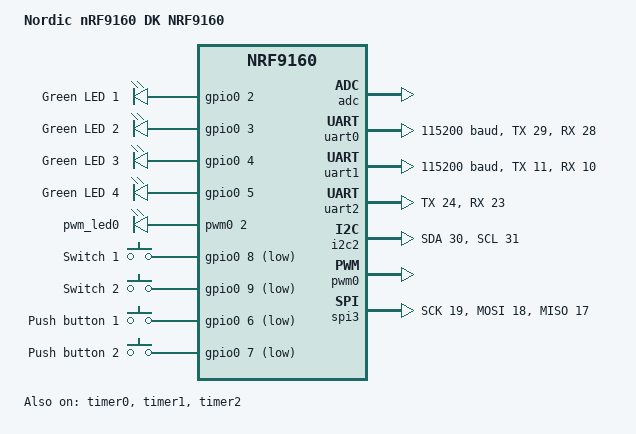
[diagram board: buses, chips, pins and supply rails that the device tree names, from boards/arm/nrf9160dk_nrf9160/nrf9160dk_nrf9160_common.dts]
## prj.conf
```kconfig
CONFIG_GPIO=y

CONFIG_SERIAL=y
CONFIG_UART_INTERRUPT_DRIVEN=y
CONFIG_UART_1_INTERRUPT_DRIVEN=y
```

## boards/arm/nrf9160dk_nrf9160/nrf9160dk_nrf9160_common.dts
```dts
/*
 * Copyright (c) 2018-2020 Nordic Semiconductor ASA
 *
 * SPDX-License-Identifier: Apache-2.0
 */

/ {
	model = "Nordic nRF9160 DK NRF9160";
	compatible = "nordic,nrf9160-dk-nrf9160";

	chosen {
		zephyr,console = &uart0;
		zephyr,shell-uart = &uart0;
		zephyr,uart-mcumgr = &uart0;
	};

	leds {
		compatible = "gpio-leds";
		led0: led_0 {
			gpios = <&gpio0 2 0>;
			label = "Green LED 1";
		};
		led1: led_1 {
			gpios = <&gpio0 3 0>;
			label = "Green LED 2";
		};
		led2: led_2 {
			gpios = <&gpio0 4 0>;
			label = "Green LED 3";
		};
		led3: led_3 {
			gpios = <&gpio0 5 0>;
			label = "Green LED 4";
		};
	};

	pwmleds {
		compatible = "pwm-leds";
		pwm_led0: pwm_led_0 {
			pwms = <&pwm0 2>;
		};
	};

	buttons {
		compatible = "gpio-keys";
		button0: button_0 {
			gpios = <&gpio0 8 (GPIO_PULL_UP | GPIO_ACTIVE_LOW)>;
			label = "Switch 1";
		};
		button1: button_1 {
			gpios = <&gpio0 9 (GPIO_PULL_UP | GPIO_ACTIVE_LOW)>;
			label = "Switch 2";
		};
		button2: button_2 {
			gpios = <&gpio0 6 (GPIO_PULL_UP | GPIO_ACTIVE_LOW)>;
			label = "Push button 1";
		};
		button3: button_3 {
			gpios = <&gpio0 7 (GPIO_PULL_UP | GPIO_ACTIVE_LOW)>;
			label = "Push button 2";
		};
	};

	/* These aliases are provided for compatibility with samples */
	aliases {
		led0 = &led0;
		led1 = &led1;
		led2 = &led2;
		led3 = &led3;
		pwm-led0 = &pwm_led0;
		sw0 = &button2;
		sw1 = &button3;
		sw2 = &button0;
		sw3 = &button1;
	};
};

&adc {
	status = "okay";
};

&gpiote {
	status = "okay";
};

&gpio0 {
	status = "okay";
};

&uart0 {
	status = "okay";
	current-speed = <115200>;
	tx-pin = <29>;
	rx-pin = <28>;
	rts-pin = <27>;
	cts-pin = <26>;
};

&uart1 {
	status = "okay";
	current-speed = <115200>;
	tx-pin = <11>;
	rx-pin = <10>;
	rts-pin = <14>;
	cts-pin = <15>;
};

&uart2 {
	tx-pin = <24>;
	rx-pin = <23>;
};

&i2c2 {
	compatible = "nordic,nrf-twim";
	status = "okay";
	sda-pin = <30>;
	scl-pin = <31>;
};

&pwm0 {
	status = "okay";
	ch0-pin = <2>;
};

&spi3 {
	compatible = "nordic,nrf-spim";
	status = "okay";
	sck-pin = <19>;
	mosi-pin = <18>;
	miso-pin = <17>;
};

&timer0 {
	status = "okay";
};

&timer1 {
	status = "okay";
};

&timer2 {
	status = "okay";
};

&flash0 {
	/*
	 * For more information, see:
	 * https://docs.zephyrproject.org/latest/guides/dts/legacy-macros.html#legacy-flash-partitions
	 */
	partitions {
		compatible = "fixed-partitions";
		#address-cells = <1>;
		#size-cells = <1>;

		boot_partition: partition@0 {
			label = "mcuboot";
			reg = <0x00000000 0x10000>;
		};
		slot0_partition: partition@10000 {
			label = "image-0";
		};
		slot0_ns_partition: partition@50000 {
			label = "image-0-nonsecure";
		};
		slot1_partition: partition@80000 {
			label = "image-1";
		};
		slot1_ns_partition: partition@c0000 {
			label = "image-1-nonsecure";
		};
		scratch_partition: partition@f0000 {
			label = "image-scratch";
			reg = <0x000f0000 0xa000>;
		};
		storage_partition: partition@fa000 {
			label = "storage";
			reg = <0x000fa000 0x00006000>;
		};
	};
};

/ {

	reserved-memory {
		#address-cells = <1>;
		#size-cells = <1>;
		ranges;

		sram0_s: image_s@20000000 {
			/* Secure image memory */
		};

		sram0_bsd: image_bsd@20010000 {
			/* BSD (shared) memory */
		};

		sram0_ns: image_ns@20020000 {
			/* Non-Secure image memory */
		};
	};
};

/* Include partition configuration file */
#include "nrf9160dk_nrf9160_partition_conf.dts"
```

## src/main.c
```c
#include <zephyr.h>
#include <drivers/uart.h>

static void uart_cb(const struct device *dev, void *context)
{
	uint8_t buf[] = {"hi\n"};

	uart_irq_update(dev);

	if (uart_irq_tx_ready(dev))
	{
		(void)uart_fifo_fill(dev, buf, sizeof(buf));
		uart_irq_tx_disable(dev);
		// printk("sent\n");
	}

	if (uart_irq_rx_ready(dev))
	{
		uint8_t buf[10];
		int len = uart_fifo_read(dev, buf, sizeof(buf));
		// uart_buf[len] = 0;

		printk("%s", buf);
		// if (len) {
		// 	printk("read %d bytes\n", len);
		// }
	}
}

void main(void)
{
	const struct device *uart = device_get_binding("UART_1");
	__ASSERT(uart, "Failed to get the device\n\n");

	uart_irq_callback_set(uart, uart_cb);
	uart_irq_rx_enable(uart);
	printk("UART loopback start!\n");
	while (1)
	{
		uart_irq_tx_enable(uart);
		k_sleep(K_MSEC(2000));
	}
}
```
